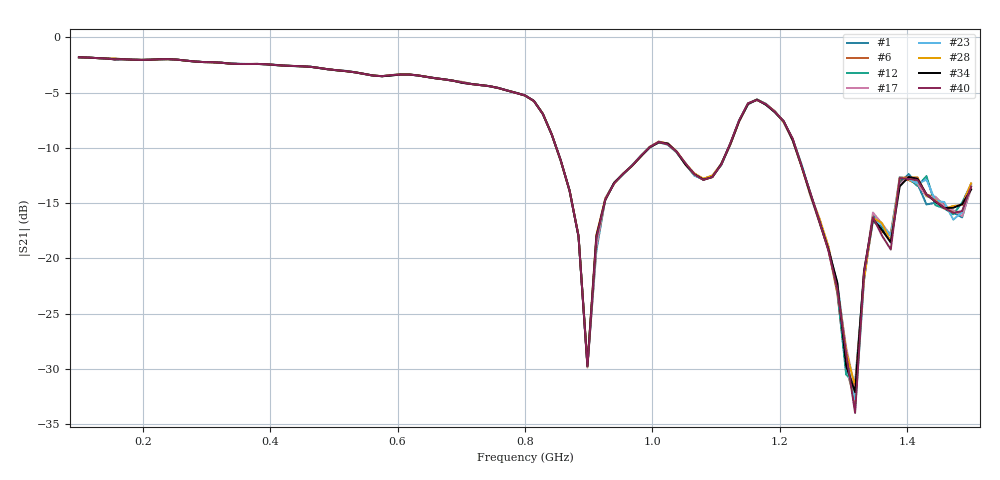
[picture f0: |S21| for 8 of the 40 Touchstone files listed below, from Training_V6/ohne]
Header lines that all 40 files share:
! NanoVNA-App
! Start: 100MHz Stop: 1,5GHz Points: 101
! S-Parameter data: F S11 S21 S12 S22
# Hz S RI R 50
!  Frequency  S11_Real  S11_Imag  S21_Real  S21_Imag  S12_Real  S12_Imag  S22_Real  S22_Imag
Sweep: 100 MHz to 1.5 GHz
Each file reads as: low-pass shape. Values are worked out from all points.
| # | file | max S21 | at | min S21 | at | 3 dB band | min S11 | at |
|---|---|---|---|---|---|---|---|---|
| 1 | ohne (601).s2p | -1.79 dB | 100 MHz | -33.7 dB | 1.318 GHz | 100 MHz-758 MHz | -40.5 dB | 716 MHz |
| 2 | ohne (602).s2p | -1.79 dB | 100 MHz | -34.6 dB | 1.318 GHz | 100 MHz-758 MHz | -41.2 dB | 716 MHz |
| 3 | ohne (603).s2p | -1.79 dB | 100 MHz | -34.2 dB | 1.318 GHz | 100 MHz-772 MHz | -40.8 dB | 716 MHz |
| 4 | ohne (604).s2p | -1.79 dB | 100 MHz | -31.4 dB | 1.318 GHz | 100 MHz-758 MHz | -40.9 dB | 716 MHz |
| 5 | ohne (605).s2p | -1.79 dB | 100 MHz | -32.6 dB | 1.318 GHz | 100 MHz-758 MHz | -40.6 dB | 716 MHz |
| 6 | ohne (606).s2p | -1.79 dB | 100 MHz | -32.9 dB | 1.318 GHz | 100 MHz-758 MHz | -41.2 dB | 716 MHz |
| 7 | ohne (607).s2p | -1.79 dB | 100 MHz | -35.2 dB | 1.318 GHz | 100 MHz-758 MHz | -41.3 dB | 716 MHz |
| 8 | ohne (608).s2p | -1.79 dB | 100 MHz | -33.2 dB | 1.318 GHz | 100 MHz-758 MHz | -40.6 dB | 716 MHz |
| 9 | ohne (609).s2p | -1.79 dB | 100 MHz | -31.9 dB | 1.318 GHz | 100 MHz-758 MHz | -40.2 dB | 716 MHz |
| 10 | ohne (610).s2p | -1.79 dB | 100 MHz | -32.5 dB | 1.318 GHz | 100 MHz-758 MHz | -41.0 dB | 716 MHz |
| 11 | ohne (611).s2p | -1.79 dB | 100 MHz | -32.7 dB | 1.318 GHz | 100 MHz-758 MHz | -40.4 dB | 716 MHz |
| 12 | ohne (612).s2p | -1.79 dB | 100 MHz | -31.3 dB | 1.318 GHz | 100 MHz-758 MHz | -40.6 dB | 716 MHz |
| 13 | ohne (613).s2p | -1.79 dB | 100 MHz | -32.7 dB | 1.318 GHz | 100 MHz-758 MHz | -40.3 dB | 716 MHz |
| 14 | ohne (614).s2p | -1.79 dB | 100 MHz | -33.6 dB | 1.318 GHz | 100 MHz-758 MHz | -40.6 dB | 716 MHz |
| 15 | ohne (615).s2p | -1.79 dB | 100 MHz | -30.3 dB | 1.318 GHz | 100 MHz-758 MHz | -40.1 dB | 716 MHz |
| 16 | ohne (616).s2p | -1.79 dB | 100 MHz | -33.8 dB | 1.318 GHz | 100 MHz-758 MHz | -40.1 dB | 716 MHz |
| 17 | ohne (617).s2p | -1.79 dB | 100 MHz | -31.8 dB | 1.318 GHz | 100 MHz-758 MHz | -40.0 dB | 716 MHz |
| 18 | ohne (618).s2p | -1.79 dB | 100 MHz | -35.3 dB | 1.318 GHz | 100 MHz-758 MHz | -41.2 dB | 716 MHz |
| 19 | ohne (619).s2p | -1.79 dB | 100 MHz | -33.3 dB | 1.318 GHz | 100 MHz-758 MHz | -41.2 dB | 716 MHz |
| 20 | ohne (620).s2p | -1.79 dB | 100 MHz | -33.5 dB | 1.318 GHz | 100 MHz-758 MHz | -40.5 dB | 716 MHz |
| 21 | ohne (621).s2p | -1.79 dB | 100 MHz | -31.9 dB | 1.318 GHz | 100 MHz-758 MHz | -40.1 dB | 716 MHz |
| 22 | ohne (622).s2p | -1.79 dB | 100 MHz | -34.1 dB | 1.318 GHz | 100 MHz-758 MHz | -40.3 dB | 716 MHz |
| 23 | ohne (623).s2p | -1.79 dB | 100 MHz | -32.8 dB | 1.318 GHz | 100 MHz-758 MHz | -40.4 dB | 716 MHz |
| 24 | ohne (624).s2p | -1.79 dB | 100 MHz | -34.7 dB | 1.318 GHz | 100 MHz-758 MHz | -40.7 dB | 716 MHz |
| 25 | ohne (625).s2p | -1.79 dB | 100 MHz | -35.7 dB | 1.318 GHz | 100 MHz-772 MHz | -41.3 dB | 716 MHz |
| 26 | ohne (626).s2p | -1.79 dB | 100 MHz | -30.9 dB | 1.318 GHz | 100 MHz-758 MHz | -40.4 dB | 716 MHz |
| 27 | ohne (627).s2p | -1.79 dB | 100 MHz | -34.9 dB | 1.318 GHz | 100 MHz-758 MHz | -40.3 dB | 716 MHz |
| 28 | ohne (628).s2p | -1.79 dB | 100 MHz | -31.6 dB | 1.318 GHz | 100 MHz-758 MHz | -40.1 dB | 716 MHz |
| 29 | ohne (629).s2p | -1.79 dB | 100 MHz | -32.8 dB | 1.318 GHz | 100 MHz-758 MHz | -39.9 dB | 716 MHz |
| 30 | ohne (630).s2p | -1.79 dB | 100 MHz | -33.5 dB | 1.318 GHz | 100 MHz-758 MHz | -40.8 dB | 716 MHz |
| 31 | ohne (631).s2p | -1.79 dB | 100 MHz | -32.6 dB | 1.318 GHz | 100 MHz-758 MHz | -40.7 dB | 716 MHz |
| 32 | ohne (632).s2p | -1.79 dB | 100 MHz | -35.7 dB | 1.318 GHz | 100 MHz-772 MHz | -40.5 dB | 716 MHz |
| 33 | ohne (633).s2p | -1.79 dB | 100 MHz | -34.8 dB | 1.318 GHz | 100 MHz-758 MHz | -41.3 dB | 716 MHz |
| 34 | ohne (634).s2p | -1.79 dB | 100 MHz | -32.1 dB | 1.318 GHz | 100 MHz-758 MHz | -41.1 dB | 716 MHz |
| 35 | ohne (635).s2p | -1.79 dB | 100 MHz | -34.4 dB | 1.318 GHz | 100 MHz-758 MHz | -41.3 dB | 716 MHz |
| 36 | ohne (636).s2p | -1.79 dB | 100 MHz | -33.5 dB | 1.318 GHz | 100 MHz-758 MHz | -40.9 dB | 716 MHz |
| 37 | ohne (637).s2p | -1.79 dB | 100 MHz | -34.2 dB | 1.318 GHz | 100 MHz-758 MHz | -41.2 dB | 716 MHz |
| 38 | ohne (638).s2p | -1.79 dB | 100 MHz | -32.4 dB | 1.318 GHz | 100 MHz-758 MHz | -40.7 dB | 716 MHz |
| 39 | ohne (639).s2p | -1.79 dB | 100 MHz | -33.6 dB | 1.318 GHz | 100 MHz-758 MHz | -41.2 dB | 716 MHz |
| 40 | ohne (640).s2p | -1.79 dB | 100 MHz | -34.0 dB | 1.318 GHz | 100 MHz-758 MHz | -39.8 dB | 716 MHz |
